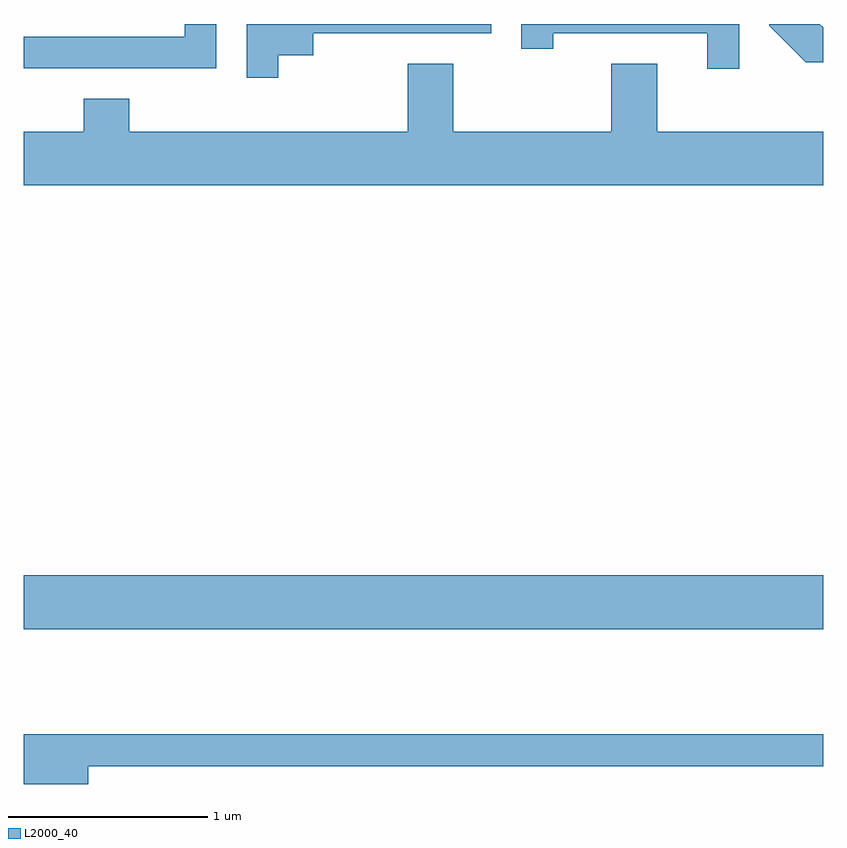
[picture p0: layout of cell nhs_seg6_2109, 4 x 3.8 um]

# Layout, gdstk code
import gdstk
lib = gdstk.Library(unit=1e-6, precision=1e-09)
def R(c, l, rs):  # rectangles x0, y0, x1, y1
    for r in rs: c.add(gdstk.rectangle(r[:2], r[2:], *l))
def P(c, l, *ps):  # polygons
    for p in ps: c.add(gdstk.Polygon(p, *l))
L2000_40 = (2000, 40)

nhs_seg6_2109 = lib.new_cell('nhs_seg6_2109')
R(nhs_seg6_2109, L2000_40, [(249.611,1561.136,253.611,1561.404)])
P(nhs_seg6_2109, L2000_40, [(250.884,1564.006),(251.059,1564.006),(251.059,1564.116),(251.949,1564.116),(251.949,1564.162),(250.726,1564.162),(250.726,1563.893),(250.884,1563.893)],
  [(253.189,1564.162),(252.101,1564.162),(252.101,1564.038),(252.259,1564.038),(252.259,1564.116),(253.031,1564.116),(253.031,1563.938),(253.189,1563.938)],
  [(250.574,1564.162),(250.416,1564.162),(250.416,1564.099),(249.611,1564.099),(249.611,1563.941),(250.574,1563.941)],
  [(253.611,1564.145),(253.594,1564.162),(253.341,1564.162),(253.341,1564.154),(253.524,1563.971),(253.611,1563.971)],
  [(253.611,1563.624),(252.779,1563.624),(252.779,1563.964),(252.551,1563.964),(252.551,1563.624),(251.759,1563.624),(251.759,1563.964),(251.531,1563.964),(251.531,1563.624),(250.139,1563.624),(250.139,1563.789),(249.911,1563.789),(249.911,1563.624),(249.611,1563.624),(249.611,1563.356),(253.611,1563.356)],
  [(249.934,1560.451),(253.611,1560.451),(253.611,1560.609),(249.611,1560.609),(249.611,1560.361),(249.934,1560.361)])

lib.write_gds('nhs_seg6_2109.gds')
